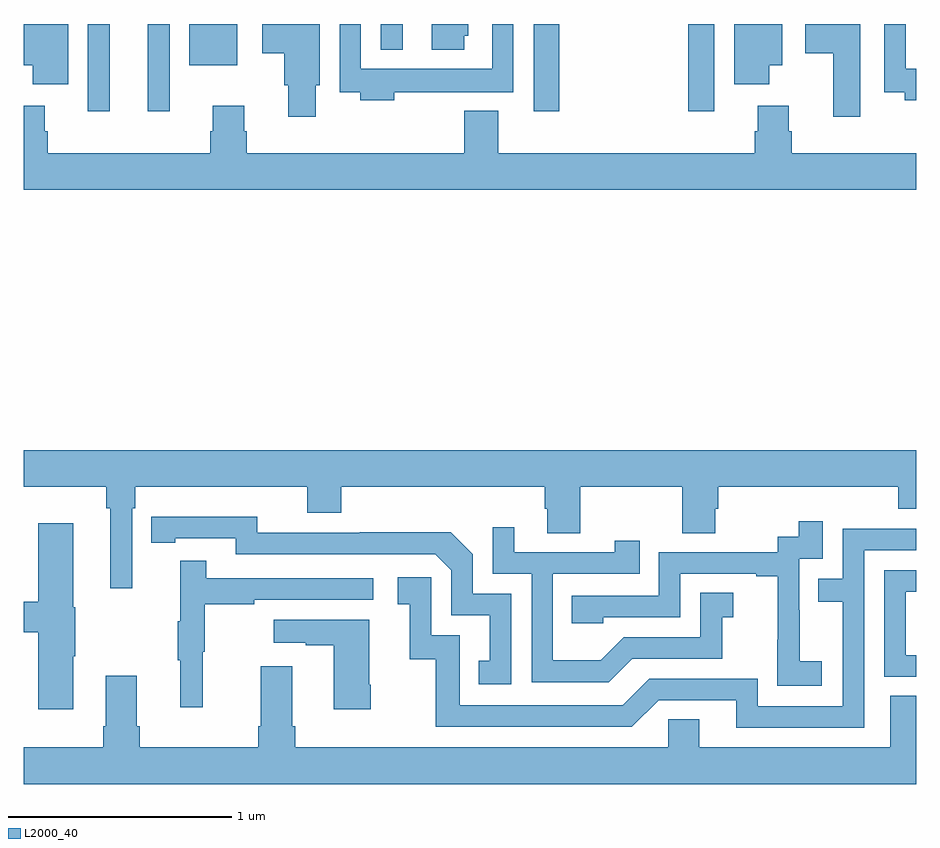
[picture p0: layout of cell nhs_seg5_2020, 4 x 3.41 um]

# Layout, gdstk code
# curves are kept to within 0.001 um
import gdstk
lib = gdstk.Library(unit=1e-6, precision=1e-09)
def R(c, l, rs):  # rectangles x0, y0, x1, y1
    for r in rs: c.add(gdstk.rectangle(r[:2], r[2:], *l))
def P(c, l, *ps):  # polygons
    for p in ps: c.add(gdstk.Polygon(p, *l))
L2000_40 = (2000, 40)

nhs_seg5_2020 = lib.new_cell('nhs_seg5_2020')
R(nhs_seg5_2020, L2000_40, [(229.287,894.408,229.384,894.799), (229.556,894.408,229.653,894.799), (231.285,894.408,231.401,894.799), (231.979,894.408,232.095,894.799), (229.742,894.614,229.957,894.799), (230.601,894.683,230.698,894.799)])
P(nhs_seg5_2020, L2000_40, [(230.974,894.747),(230.992,894.747),(230.992,894.799),(230.828,894.799),(230.828,894.684),(230.974,894.684)],
  [(230.308,894.525),(230.326,894.525),(230.326,894.799),(230.069,894.799),(230.069,894.667),(230.168,894.667),(230.168,894.525),(230.186,894.525),(230.186,894.384),(230.308,894.384)],
  [(232.75,894.799),(232.503,894.799),(232.503,894.667),(232.628,894.667),(232.628,894.384),(232.75,894.384)],
  [(229.198,894.799),(229,894.799),(229,894.614),(229.04,894.614),(229.04,894.528),(229.198,894.528)],
  [(230.66,894.492),(230.891,894.492),(230.891,894.494),(231.195,894.494),(231.195,894.799),(231.099,894.799),(231.099,894.598),(230.511,894.598),(230.511,894.799),(230.415,894.799),(230.415,894.492),(230.507,894.492),(230.507,894.458),(230.66,894.458)],
  [(233,894.598),(232.953,894.598),(232.953,894.799),(232.857,894.799),(232.857,894.492),(232.949,894.492),(232.949,894.458),(233,894.458)],
  [(232.342,894.614),(232.399,894.614),(232.399,894.799),(232.184,894.799),(232.184,894.528),(232.342,894.528)],
  [(233,894.22),(232.442,894.22),(232.442,894.318),(232.429,894.318),(232.429,894.433),(232.289,894.433),(232.289,894.318),(232.277,894.318),(232.277,894.22),(231.127,894.22),(231.127,894.409),(230.975,894.409),(230.975,894.22),(230,894.22),(230,894.318),(229.987,894.318),(229.987,894.433),(229.847,894.433),(229.847,894.318),(229.835,894.318),(229.835,894.22),(229.106,894.22),(229.106,894.318),(229.093,894.318),(229.093,894.433),(229,894.433),(229,894.056),(233,894.056)],
  [(229.485,892.628),(229.499,892.628),(229.499,892.724),(230.27,892.724),(230.27,892.607),(230.423,892.607),(230.423,892.724),(231.335,892.724),(231.335,892.626),(231.347,892.626),(231.347,892.516),(231.495,892.516),(231.495,892.724),(231.952,892.724),(231.952,892.516),(232.099,892.516),(232.099,892.626),(232.112,892.626),(232.112,892.724),(232.919,892.724),(232.919,892.625),(233,892.625),(233,892.888),(229,892.888),(229,892.724),(229.369,892.724),(229.369,892.628),(229.388,892.628),(229.388,892.269),(229.485,892.269)],
  [(231.186,892.245),(231.012,892.245),(231.012,892.422),(230.914,892.52),(230.506,892.52),(230.506,892.518),(230.046,892.518),(230.046,892.591),(229.57,892.59),(229.57,892.474),(229.678,892.474),(229.678,892.494),(229.95,892.494),(229.95,892.422),(230.844,892.422),(230.916,892.35),(230.916,892.149),(231.089,892.149),(231.089,891.945),(231.04,891.945),(231.04,891.84),(231.186,891.84)],
  [(232.576,891.943),(232.478,891.943),(232.478,892.172),(232.476,892.172),(232.476,892.401),(232.581,892.401),(232.581,892.57),(232.473,892.57),(232.473,892.5),(232.38,892.5),(232.38,892.431),(231.846,892.431),(231.846,892.236),(231.457,892.236),(231.457,892.113),(231.597,892.113),(231.597,892.14),(231.942,892.14),(231.942,892.335),(232.283,892.335),(232.283,892.323),(232.379,892.323),(232.379,892.039),(232.378,892.039),(232.378,891.833),(232.576,891.833)],
  [(229.222,891.964),(229.23,891.964),(229.23,892.185),(229.222,892.185),(229.222,892.561),(229.064,892.561),(229.064,892.208),(229,892.208),(229,892.072),(229.064,892.072),(229.064,891.726),(229.222,891.726)],
  [(231.727,891.954),(232.131,891.954),(232.131,892.139),(232.18,892.139),(232.18,892.249),(232.032,892.249),(232.032,892.05),(231.69,892.05),(231.586,891.946),(231.372,891.946),(231.372,892.335),(231.761,892.335),(231.761,892.483),(231.65,892.483),(231.65,892.431),(231.199,892.431),(231.199,892.543),(231.102,892.543),(231.102,892.335),(231.276,892.335),(231.276,891.849),(231.622,891.849)],
  [(232.767,892.44),(233,892.44),(233,892.536),(232.671,892.536),(232.671,892.311),(232.561,892.311),(232.561,892.21),(232.671,892.21),(232.671,891.741),(232.29,891.741),(232.29,891.864),(231.804,891.864),(231.684,891.744),(230.955,891.744),(230.955,892.059),(230.826,892.059),(230.826,892.318),(230.676,892.318),(230.676,892.197),(230.729,892.197),(230.729,891.951),(230.847,891.951),(230.847,891.648),(231.726,891.648),(231.846,891.768),(232.193,891.768),(232.193,891.645),(232.767,891.645)],
  [(229.802,891.984),(229.81,891.984),(229.81,892.198),(230.033,892.198),(230.033,892.218),(230.566,892.218),(230.566,892.314),(229.817,892.314),(229.817,892.393),(229.7,892.393),(229.7,892.121),(229.689,892.121),(229.689,891.947),(229.7,891.947),(229.7,891.735),(229.802,891.735)],
  [(233,891.969),(232.953,891.969),(232.953,892.254),(233,892.254),(233,892.35),(232.857,892.35),(232.857,891.873),(233,891.873)],
  [(230.556,891.838),(230.548,891.838),(230.548,892.129),(230.121,892.129),(230.121,892.025),(230.264,892.025),(230.264,892.015),(230.39,892.015),(230.39,891.726),(230.556,891.726)],
  [(233,891.788),(232.883,891.788),(232.883,891.556),(232.027,891.556),(232.027,891.683),(231.888,891.683),(231.888,891.556),(230.216,891.556),(230.216,891.652),(230.203,891.652),(230.203,891.919),(230.063,891.919),(230.063,891.652),(230.051,891.652),(230.051,891.556),(229.52,891.556),(229.52,891.652),(229.507,891.652),(229.507,891.877),(229.367,891.877),(229.367,891.652),(229.355,891.652),(229.355,891.556),(229,891.556),(229,891.392),(233,891.392)])

lib.write_gds('nhs_seg5_2020.gds')
